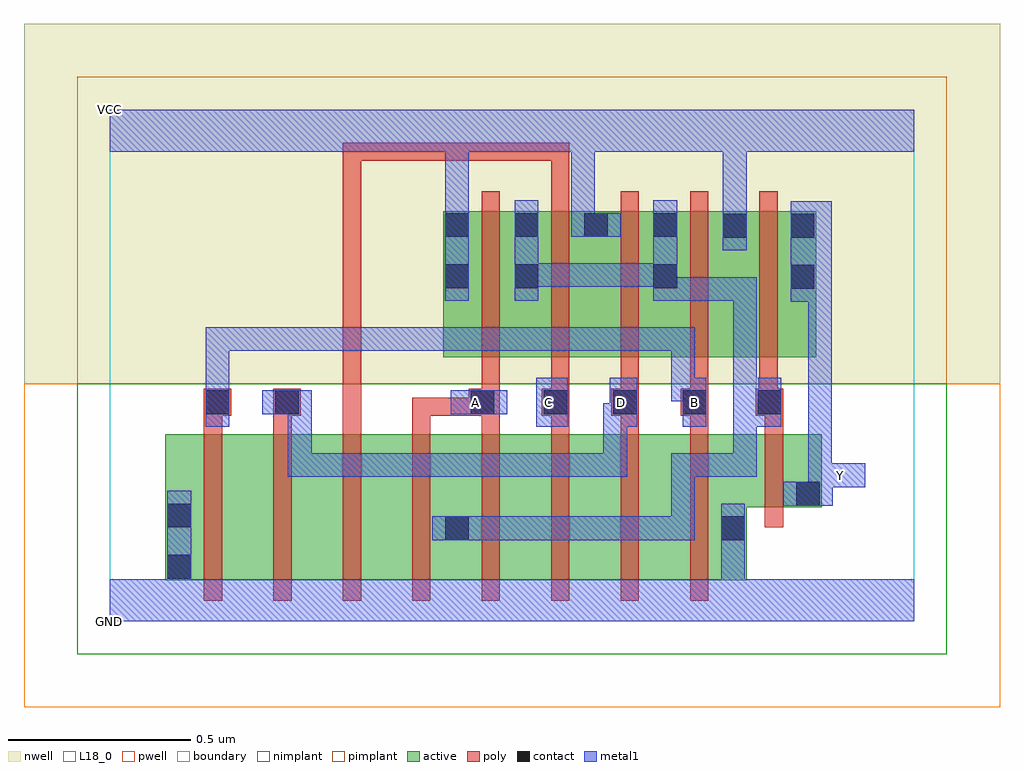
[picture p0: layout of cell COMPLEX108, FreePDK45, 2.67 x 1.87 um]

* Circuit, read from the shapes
.subckt COMPLEX108 A B C D GND VCC Y
M1 n1 B GND VSUBS nfet w=0.4u l=0.05u
M2 n2 D n1 VSUBS nfet w=0.4u l=0.05u
M3 n3 C n2 VSUBS nfet w=0.4u l=0.05u
M4 n4 A n3 VSUBS nfet w=0.4u l=0.05u
M5 n5 A n4 VSUBS nfet w=0.4u l=0.05u
M6 n6 C n5 VSUBS nfet w=0.4u l=0.05u
M7 n7 D n6 VSUBS nfet w=0.4u l=0.05u
M8 GND B n7 VSUBS nfet w=0.4u l=0.05u
M9 Y n4 GND VSUBS nfet w=0.2u l=0.05u
M10 n4 A VCC n8 pfet w=0.4u l=0.05u
M11 VCC C n4 n8 pfet w=0.4u l=0.05u
M12 n4 D VCC n8 pfet w=0.4u l=0.05u
M13 VCC B n4 n8 pfet w=0.4u l=0.05u
M14 Y n4 VCC n8 pfet w=0.4u l=0.05u
.ends

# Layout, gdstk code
import gdstk
lib = gdstk.Library(unit=1e-6, precision=1e-09)
def R(c, l, rs):  # rectangles x0, y0, x1, y1
    for r in rs: c.add(gdstk.rectangle(r[:2], r[2:], *l))
def A(c, l, x, y, w, h, nx, ny, dx, dy):  # array of equal rectangles
    R(c, l, [(x+i*dx, y+j*dy, x+i*dx+w, y+j*dy+h) for i in range(nx) for j in range(ny)])
active = (1, 0)
pwell = (2, 0)
nwell = (3, 0)
nimplant = (4, 0)
pimplant = (5, 0)
poly = (9, 0)
contact = (10, 0)
metal1 = (11, 0)
L18_0 = (18, 0)
boundary = (235, 0)

complex108 = lib.new_cell('COMPLEX108')
A(complex108, active, 0.912, 0.722, 0.265, 0.4, 4, 1, 0.19, 0)
R(complex108, active, [(0.152,0.112,0.377,0.512), (0.152,0.112,0.227,0.512), (0.377,0.112,0.567,0.512), (0.567,0.112,0.757,0.512), (0.757,0.112,0.987,0.512), (0.912,0.112,1.137,0.512), (1.137,0.112,1.327,0.512), (1.327,0.112,1.517,0.512), (1.517,0.112,1.742,0.512), (1.667,0.112,1.742,0.312), (0.912,0.195,0.987,0.492), (1.667,0.312,1.947,0.512), (1.872,0.312,1.947,0.512), (1.672,0.722,1.932,1.122), (1.857,0.722,1.932,1.122), (0.912,0.782,0.987,1.122), (1.482,0.802,1.557,1.122), (1.672,0.802,1.747,1.122), (1.102,0.822,1.177,1.122), (1.292,0.907,1.367,1.122)])
R(complex108, pwell, [(-0.235,-0.235,2.435,0.65)])
R(complex108, nwell, [(-0.235,0.65,2.435,1.635)])
R(complex108, nimplant, [(-0.09,-0.09,2.29,0.65)])
R(complex108, pimplant, [(-0.09,0.65,2.29,1.49)])
A(complex108, poly, 0.257, 0.057, 0.05, 0.51, 8, 1, 0.19, 0)
A(complex108, poly, 0.827, 0.517, 0.05, 0.095, 5, 1, 0.19, 0)
A(complex108, poly, 1.182, 0.562, 0.075, 0.075, 3, 1, 0.19, 0)
A(complex108, poly, 1.017, 0.587, 0.05, 0.13, 5, 1, 0.19, 0)
A(complex108, poly, 1.017, 0.667, 0.05, 0.51, 5, 1, 0.19, 0)
R(complex108, poly, [(1.792,0.257,1.842,0.567), (0.257,0.517,0.307,0.612), (0.447,0.517,0.497,0.612), (0.637,0.517,0.687,1.31), (1.792,0.517,1.842,0.612), (0.257,0.562,0.332,0.637), (0.447,0.562,0.522,0.637), (0.827,0.562,0.877,0.612), (0.827,0.562,0.877,0.612), (0.827,0.562,0.877,0.612), (0.827,0.562,1.032,0.612), (0.982,0.562,1.067,0.637), (1.767,0.562,1.842,0.637), (1.207,1.127,1.257,1.31), (0.637,1.26,0.687,1.31), (0.637,1.26,0.687,1.31), (0.637,1.26,0.687,1.31), (0.637,1.26,0.687,1.31), (0.637,1.26,0.687,1.31), (0.637,1.26,0.687,1.31), (0.637,1.26,0.687,1.31), (0.637,1.26,0.82,1.31), (0.77,1.26,0.82,1.31), (0.77,1.26,0.82,1.31), (0.77,1.26,0.82,1.31), (0.77,1.26,0.82,1.31), (0.77,1.26,0.82,1.31), (0.77,1.26,0.82,1.31), (0.77,1.26,0.82,1.31), (0.77,1.26,0.82,1.31), (0.77,1.26,0.82,1.31), (0.77,1.26,1.01,1.31), (0.96,1.26,1.257,1.31), (0.96,1.26,1.01,1.31), (0.96,1.26,1.01,1.31), (0.96,1.26,1.01,1.31), (1.207,1.26,1.257,1.31)])
A(complex108, contact, 1.187, 0.567, 0.065, 0.065, 3, 1, 0.19, 0)
A(complex108, contact, 0.917, 1.052, 0.065, 0.065, 4, 1, 0.19, 0)
R(complex108, contact, [(0.157,0.117,0.222,0.182), (0.917,0.222,0.982,0.287), (1.672,0.222,1.737,0.287), (0.157,0.257,0.222,0.322), (1.877,0.317,1.942,0.382), (0.262,0.567,0.327,0.632), (0.452,0.567,0.517,0.632), (0.987,0.567,1.052,0.632), (1.772,0.567,1.837,0.632), (1.862,0.91,1.927,0.975), (0.917,0.912,0.982,0.977), (1.107,0.912,1.172,0.977), (1.487,0.912,1.552,0.977), (1.677,1.05,1.742,1.115), (1.862,1.05,1.927,1.115)])
R(complex108, metal1, [(0,0,2.2,0.115), (0.157,0.05,0.222,0.147), (1.672,0.05,1.737,0.252), (0.157,0.082,0.222,0.357), (1.672,0.187,1.737,0.322), (0.882,0.222,1.017,0.287), (0.952,0.222,1.017,0.287), (0.952,0.222,1.017,0.287), (0.952,0.222,1.19,0.287), (1.125,0.222,1.19,0.287), (1.125,0.222,1.19,0.287), (1.125,0.222,1.19,0.287), (1.125,0.222,1.39,0.287), (1.325,0.222,1.39,0.287), (1.325,0.222,1.39,0.287), (1.325,0.222,1.39,0.287), (1.325,0.222,1.6,0.287), (1.535,0.222,1.6,0.287), (1.535,0.222,1.6,0.46), (1.842,0.317,1.977,0.382), (1.912,0.317,1.977,0.432), (1.91,0.367,1.975,0.94), (1.91,0.367,2.067,0.432), (0.487,0.395,0.552,0.46), (0.487,0.395,0.69,0.46), (0.487,0.395,0.552,0.632), (0.625,0.395,0.69,0.46), (0.625,0.395,0.69,0.46), (0.625,0.395,0.69,0.46), (0.625,0.395,0.827,0.46), (0.762,0.395,0.827,0.46), (0.762,0.395,0.827,0.46), (0.762,0.395,0.827,0.46), (0.762,0.395,1.035,0.46), (0.97,0.395,1.035,0.46), (0.97,0.395,1.172,0.46), (1.107,0.395,1.172,0.46), (1.107,0.395,1.172,0.46), (1.107,0.395,1.172,0.46), (1.107,0.395,1.415,0.46), (1.35,0.395,1.415,0.46), (1.35,0.395,1.415,0.597), (1.535,0.395,1.6,0.46), (1.535,0.395,1.6,0.46), (1.535,0.395,1.6,0.46), (1.535,0.395,1.77,0.46), (1.705,0.395,1.77,0.46), (1.705,0.395,1.77,0.597), (0.262,0.532,0.327,0.667), (1.167,0.532,1.252,0.667), (1.35,0.532,1.415,0.597), (1.35,0.532,1.432,0.597), (1.367,0.532,1.442,0.667), (1.567,0.532,1.632,0.667), (1.705,0.532,1.837,0.597), (1.705,0.532,1.77,0.597), (1.705,0.532,1.77,0.597), (1.705,0.532,1.77,0.597), (1.705,0.532,1.77,0.942), (1.772,0.532,1.837,0.667), (0.417,0.567,0.552,0.632), (0.487,0.567,0.552,0.632), (0.487,0.567,0.552,0.632), (0.932,0.567,1.087,0.632), (0.262,0.602,0.327,0.667), (0.262,0.602,0.327,0.667), (0.262,0.602,0.327,0.805), (1.535,0.602,1.6,0.667), (1.535,0.602,1.632,0.667), (1.535,0.602,1.6,0.805), (0.262,0.74,0.327,0.805), (0.262,0.74,0.465,0.805), (0.4,0.74,0.465,0.805), (0.4,0.74,0.465,0.805), (0.4,0.74,0.465,0.805), (0.4,0.74,0.69,0.805), (0.625,0.74,0.69,0.805), (0.625,0.74,0.69,0.805), (0.625,0.74,0.69,0.805), (0.625,0.74,0.827,0.805), (0.762,0.74,0.827,0.805), (0.762,0.74,0.827,0.805), (0.762,0.74,0.827,0.805), (0.762,0.74,1.035,0.805), (0.97,0.74,1.035,0.805), (0.97,0.74,1.172,0.805), (1.107,0.74,1.172,0.805), (1.107,0.74,1.172,0.805), (1.107,0.74,1.172,0.805), (1.107,0.74,1.39,0.805), (1.325,0.74,1.39,0.805), (1.325,0.74,1.39,0.805), (1.325,0.74,1.39,0.805), (1.325,0.74,1.6,0.805), (1.535,0.74,1.6,0.805), (1.862,0.875,1.975,1.15), (0.917,0.877,0.982,1.152), (1.107,0.877,1.172,1.152), (1.487,0.877,1.7,0.942), (1.487,0.877,1.552,1.152), (1.635,0.877,1.77,0.942), (1.635,0.877,1.7,0.942), (1.705,0.877,1.77,0.942), (1.107,0.915,1.172,0.98), (1.107,0.915,1.172,0.98), (1.107,0.915,1.415,0.98), (1.35,0.915,1.415,0.98), (1.35,0.915,1.415,0.98), (1.35,0.915,1.415,0.98), (1.35,0.915,1.552,0.98), (1.677,1.015,1.742,1.15), (1.262,1.052,1.397,1.117), (1.262,1.052,1.327,1.117), (1.262,1.052,1.327,1.117), (1.262,1.052,1.327,1.35), (1.677,1.085,1.742,1.35), (0.917,1.087,0.982,1.35), (0,1.285,2.2,1.4), (0.917,1.285,0.982,1.35), (0.917,1.285,0.982,1.35), (1.677,1.285,1.742,1.35), (1.677,1.285,1.742,1.35)])
A(complex108, L18_0, 0.967, 0.567, 0.065, 0.065, 4, 1, 0.2, 0)
R(complex108, L18_0, [(0,0,2.2,0.115), (0.157,0.05,0.222,0.147), (1.672,0.05,1.737,0.252), (0.157,0.082,0.222,0.357), (1.672,0.187,1.737,0.322), (1.842,0.317,1.977,0.382), (1.912,0.317,1.977,0.432), (1.91,0.367,2.067,0.432), (1.91,0.367,1.975,0.94), (1.967,0.367,2.032,0.432), (0.487,0.395,0.552,0.46), (0.487,0.395,0.69,0.46), (0.487,0.395,0.552,0.632), (0.625,0.395,0.69,0.46), (0.625,0.395,0.69,0.46), (0.625,0.395,0.69,0.46), (0.625,0.395,0.827,0.46), (0.762,0.395,0.827,0.46), (0.762,0.395,0.827,0.46), (0.762,0.395,0.827,0.46), (0.762,0.395,1.035,0.46), (0.97,0.395,1.035,0.46), (0.97,0.395,1.172,0.46), (1.107,0.395,1.172,0.46), (1.107,0.395,1.172,0.46), (1.107,0.395,1.172,0.46), (1.107,0.395,1.415,0.46), (1.35,0.395,1.415,0.46), (1.35,0.395,1.415,0.597), (0.262,0.532,0.327,0.667), (1.167,0.532,1.252,0.667), (1.35,0.532,1.415,0.597), (1.35,0.532,1.432,0.597), (1.367,0.532,1.442,0.667), (1.567,0.532,1.632,0.667), (0.417,0.567,0.552,0.632), (0.487,0.567,0.552,0.632), (0.487,0.567,0.552,0.632), (0.932,0.567,1.087,0.632), (0.262,0.602,0.327,0.667), (0.262,0.602,0.327,0.667), (0.262,0.602,0.327,0.805), (1.535,0.602,1.6,0.667), (1.535,0.602,1.6,0.805), (1.535,0.602,1.632,0.667), (0.262,0.74,0.327,0.805), (0.262,0.74,0.465,0.805), (0.4,0.74,0.465,0.805), (0.4,0.74,0.465,0.805), (0.4,0.74,0.465,0.805), (0.4,0.74,0.69,0.805), (0.625,0.74,0.69,0.805), (0.625,0.74,0.69,0.805), (0.625,0.74,0.69,0.805), (0.625,0.74,0.827,0.805), (0.762,0.74,0.827,0.805), (0.762,0.74,0.827,0.805), (0.762,0.74,0.827,0.805), (0.762,0.74,1.035,0.805), (0.97,0.74,1.035,0.805), (0.97,0.74,1.172,0.805), (1.107,0.74,1.172,0.805), (1.107,0.74,1.172,0.805), (1.107,0.74,1.172,0.805), (1.107,0.74,1.39,0.805), (1.325,0.74,1.39,0.805), (1.325,0.74,1.39,0.805), (1.325,0.74,1.39,0.805), (1.325,0.74,1.6,0.805), (1.535,0.74,1.6,0.805), (1.862,0.875,1.975,1.15), (0.917,0.877,0.982,1.152), (1.677,1.015,1.742,1.15), (1.262,1.052,1.327,1.117), (1.262,1.052,1.327,1.117), (1.262,1.052,1.397,1.117), (1.262,1.052,1.327,1.35), (1.677,1.085,1.742,1.35), (0.917,1.087,0.982,1.35), (0,1.285,2.2,1.4), (0.917,1.285,0.982,1.35), (0.917,1.285,0.982,1.35), (1.677,1.285,1.742,1.35), (1.677,1.285,1.742,1.35)])
R(complex108, boundary, [(0,0,2.2,1.4)])
complex108.add(gdstk.Label('A', (1,0.6), layer=11, texttype=0))
complex108.add(gdstk.Label('B', (1.6,0.6), layer=11, texttype=0))
complex108.add(gdstk.Label('C', (1.2,0.6), layer=11, texttype=0))
complex108.add(gdstk.Label('D', (1.4,0.6), layer=11, texttype=0))
complex108.add(gdstk.Label('Y', (2,0.4), layer=11, texttype=0))
complex108.add(gdstk.Label('VCC', (0,1.4), layer=11, texttype=0))
complex108.add(gdstk.Label('GND', (0,0), layer=11, texttype=0))

lib.write_gds('COMPLEX108.gds')
